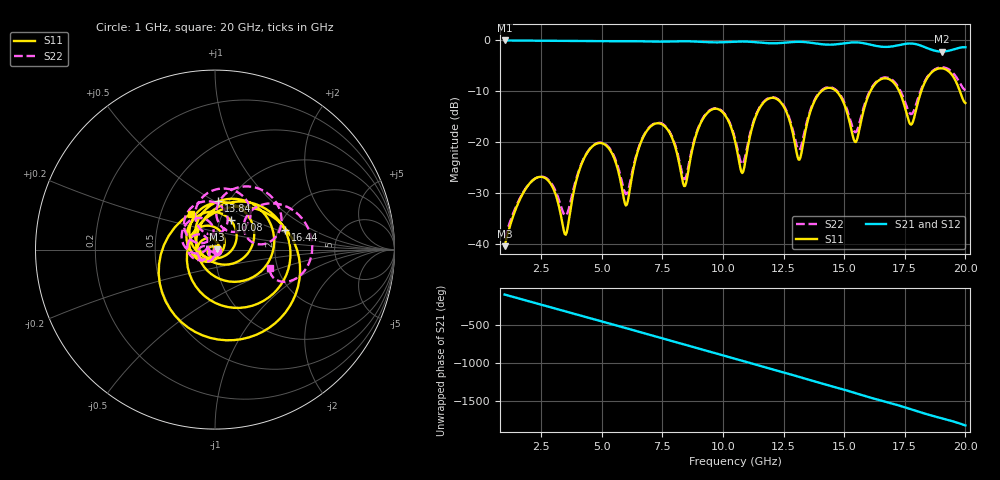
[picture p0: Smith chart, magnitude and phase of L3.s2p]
! Touchstone file from project TestMultiLine
! Exported from HFSS 14.0.0
! Variables:
!  gap = 22.07mm
!  hair = 35mm
!  hsub = 0.762mm
!  l = 50.07mm
!  lair = 55mm
!  lmic = 14mm
!  w = 25mm
!  wair = 40mm
!  wmic = 2.1mm
!  wp = 1mm
!Data is not renormalized
# GHZ S MA
! Modal data exported
! Port[1] = 1:1
! Port[2] = 2:1
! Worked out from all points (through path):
!   476 points, 1 GHz to 20 GHz, reference per port
!   highest |S21| = -0.05 dB at 1 GHz (marker M1); lowest = -2.2 dB at 19.04 GHz (marker M2)
!   group delay of S21, straight-line fit = 254 ps
!   lowest |S11| = -40.4 dB at 1 GHz (marker M3), VSWR 1.02
!   |S11| at or under -10 dB: start of sweep to 14.06 GHz; 14.68 GHz to 16.08 GHz (1.405 GHz wide, 9.13 % of centre); 17.27 GHz to 18.18 GHz (907.5 MHz wide, 5.12 % of centre)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
!   |S22| runs from -38.9 to -5.3 dB; largest |S21 - S12| = 2.5e-10
!   S11 on the Smith chart (normalised r, x): 1 GHz: 1.02, +0.00; 10.08 GHz: 1.12, +0.38; 13.84 GHz: 0.90, +0.52; 16.44 GHz: 2.18, +0.57; 20 GHz: 0.71, +0.30
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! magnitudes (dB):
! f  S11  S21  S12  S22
! 1 GHz  -40.4  -0.1  -0.1  -38.9
! 2.4 GHz  -26.9  -0.1  -0.1  -26.8
! 3.52 GHz  -38.2  -0.1  -0.1  -34.4
! 4.2 GHz  -24.0  -0.2  -0.2  -23.9
! 5.2 GHz  -20.7  -0.2  -0.2  -20.6
! 6 GHz  -32.4  -0.2  -0.2  -30.2
! 7.36 GHz  -16.3  -0.3  -0.3  -16.2
! 8.44 GHz  -28.6  -0.2  -0.2  -27.2
! 9.16 GHz  -15.6  -0.3  -0.3  -15.4
! 10.08 GHz  -14.6  -0.4  -0.4  -14.5
! 10.52 GHz  -20.2  -0.3  -0.3  -19.7
! 10.8 GHz  -26.1  -0.3  -0.3  -24.4
! 12.12 GHz  -11.3  -0.6  -0.6  -11.2
! 13.16 GHz  -23.4  -0.3  -0.3  -21.5
! 13.68 GHz  -13.0  -0.5  -0.5  -12.8
! 13.84 GHz  -11.4  -0.7  -0.7  -11.2
! 15.48 GHz  -20.0  -0.4  -0.4  -18.0
! 16.44 GHz  -7.9  -1.2  -1.2  -7.7
! 16.84 GHz  -7.6  -1.3  -1.3  -7.4
! 17.76 GHz  -16.6  -0.7  -0.7  -14.5
! 19.04 GHz  -5.5  -2.2  -2.2  -5.3
! 20 GHz  -12.3  -1.4  -1.4  -9.8
